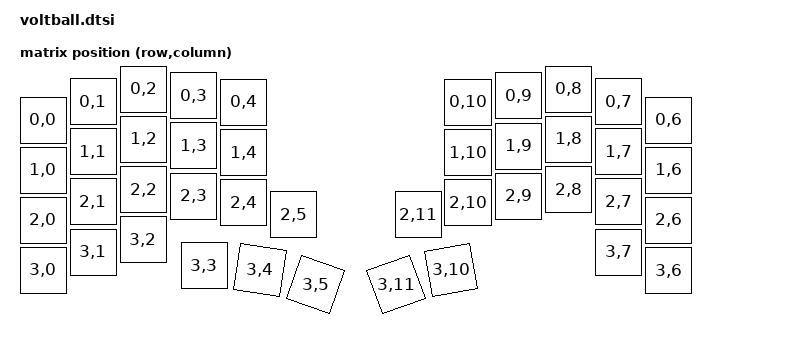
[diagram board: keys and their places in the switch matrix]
/*
 * SPDX-License-Identifier: MIT
 */

#include <dt-bindings/zmk/matrix_transform.h>
#include <physical_layouts.dtsi>
#include <input/processors.dtsi>
#include <dt-bindings/zmk/input_transform.h>
/ {
    chosen {
        zmk,kscan = &kscan0;
        zmk,physical-layout = &voltball_layout;
        zmk,battery = &non_lipo_battery;
    };

    non_lipo_battery: non_lipo_battery {
        compatible = "zmk,non-lipo-battery";
        /* P0.31/AIN7 reads half the AA voltage through the 1M/1M divider. */
        io-channels = <&adc 7>;
    };

    default_transform: keymap_transform_0 {
        compatible = "zmk,matrix-transform";
        columns = <12>;
        rows = <4>;
        map = <
            RC(0,0) RC(0,1) RC(0,2) RC(0,3) RC(0,4)                  RC(0,10) RC(0,9) RC(0,8) RC(0,7) RC(0,6)
            RC(1,0) RC(1,1) RC(1,2) RC(1,3) RC(1,4)                  RC(1,10) RC(1,9) RC(1,8) RC(1,7) RC(1,6)
            RC(2,0) RC(2,1) RC(2,2) RC(2,3) RC(2,4) RC(2,5) RC(2,11) RC(2,10) RC(2,9) RC(2,8) RC(2,7) RC(2,6)
            RC(3,0) RC(3,1) RC(3,2) RC(3,3) RC(3,4) RC(3,5) RC(3,11) RC(3,10)                 RC(3,7) RC(3,6)
        >;
    };

    kscan0: kscan {
        compatible = "zmk,kscan-gpio-matrix";
        diode-direction = "col2row";
        wakeup-source;
    };

    voltball_layout: voltball_layout {
        compatible = "zmk,physical-layout";
        display-name = "Voltball";
        kscan = <&kscan0>;
        transform = <&default_transform>;
        keys = <
            &key_physical_attrs 100 100    0  62   0    0   0
            &key_physical_attrs 100 100  100  25   0    0   0
            &key_physical_attrs 100 100  201   0   0    0   0
            &key_physical_attrs 100 100  301  13   0    0   0
            &key_physical_attrs 100 100  401  26   0    0   0
            &key_physical_attrs 100 100  850  26   0    0   0
            &key_physical_attrs 100 100  951  13   0    0   0
            &key_physical_attrs 100 100 1051   0   0    0   0
            &key_physical_attrs 100 100 1151  25   0    0   0
            &key_physical_attrs 100 100 1251  62   0    0   0

            &key_physical_attrs 100 100    0 162   0    0   0
            &key_physical_attrs 100 100  100 125   0    0   0
            &key_physical_attrs 100 100  201 100   0    0   0
            &key_physical_attrs 100 100  301 113   0    0   0
            &key_physical_attrs 100 100  401 127   0    0   0
            &key_physical_attrs 100 100  850 127   0    0   0
            &key_physical_attrs 100 100  951 114   0    0   0
            &key_physical_attrs 100 100 1051 100   0    0   0
            &key_physical_attrs 100 100 1151 125   0    0   0
            &key_physical_attrs 100 100 1251 162   0    0   0

            &key_physical_attrs 100 100    0 262   0    0   0
            &key_physical_attrs 100 100  100 225   0    0   0
            &key_physical_attrs 100 100  201 201   0    0   0
            &key_physical_attrs 100 100  301 214   0    0   0
            &key_physical_attrs 100 100  401 227   0    0   0
            &key_physical_attrs 100 100  501 251   0    0   0
            &key_physical_attrs 100 100  750 251   0    0   0
            &key_physical_attrs 100 100  850 227   0    0   0
            &key_physical_attrs 100 100  951 214   0    0   0
            &key_physical_attrs 100 100 1051 201   0    0   0
            &key_physical_attrs 100 100 1151 225   0    0   0
            &key_physical_attrs 100 100 1251 262   0    0   0

            &key_physical_attrs 100 100    0 362   0    0   0
            &key_physical_attrs 100 100  100 326   0    0   0
            &key_physical_attrs 100 100  200 301   0    0   0
            &key_physical_attrs 100 100  322 353   0    0   0
            &key_physical_attrs 100 100  434 362    900  484 412
            &key_physical_attrs 100 100  545 391   2000  595 441
            &key_physical_attrs 100 100  706 391 (-2000) 756 441
            &key_physical_attrs 100 100  816 362 (-1000) 866 412
            &key_physical_attrs 100 100 1151 326   0    0   0
            &key_physical_attrs 100 100 1251 363   0    0   0
        >;
    };

    leds {
        compatible = "gpio-leds";

        status_led: status_led {
            gpios = <&gpio0 9 GPIO_ACTIVE_HIGH>;
            label = "Status LED";
        };
    };

    status_led_device: status_led_device {
        compatible = "zmk,status-led";
        led = <&status_led>;
    };

    trackball_central_listener: trackball_central_listener {
        compatible = "zmk,input-listener";
        status = "disabled";
        /* input-processors = <&zip_xy_transform INPUT_TRANSFORM_Y_INVERT>,
                       <&zip_temp_layer 3 500>; */
    };
};

&vbatt {
    status = "disabled";
};
